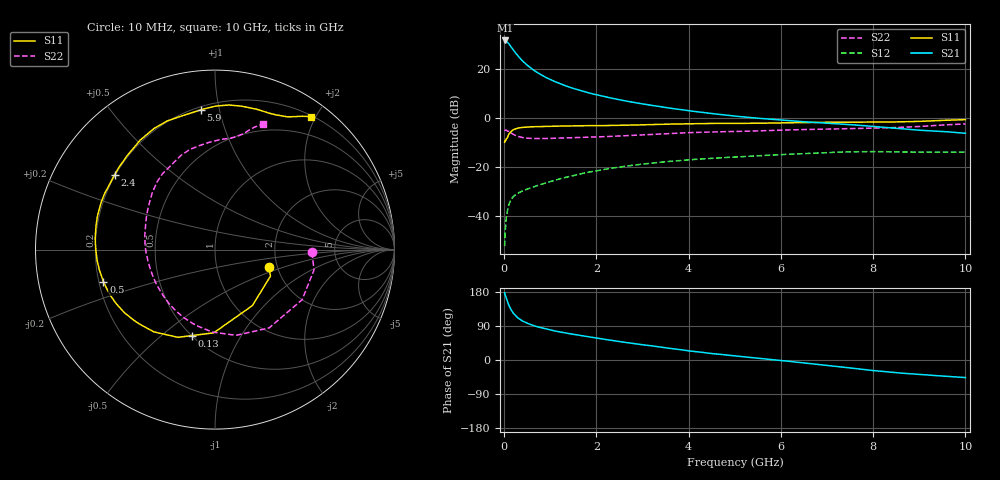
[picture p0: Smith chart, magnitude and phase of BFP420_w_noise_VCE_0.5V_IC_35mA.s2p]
! Infineon Technologies  Discrete & RF Semiconductors
! BFP420
! VCE =  0.5 V,  IC =  35 mA
! Common Emitter S-Parameters:  Jan 2016
# GHz  S  MA  R  50
!  f  S11  S21  S12  S22
! GHz  MAG  ANG  MAG  ANG  MAG  ANG  MAG  ANG
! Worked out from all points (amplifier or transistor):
!   233 points, 10 MHz to 10 GHz, reference 50 ohm
!   highest |S21| = 31.5 dB at 20 MHz (marker M1)
!   |S21| within 3 dB of that: start of sweep to 165 MHz
!   unconditionally stable (mu >= 1): start of sweep to 42.43 MHz; 823.9 MHz to end of sweep
!   at 200 MHz: K = 0.52, MSG = 29.9 dB, |S12| = -32.1 dB
!   at 1.74 GHz: K = 1.22, MAG = 13.7 dB, |S12| = -22.6 dB
!   at 10 GHz: K = 1.06, MAG = 2.3 dB, |S12| = -14.0 dB
!   lowest NFmin = 1.64 dB at 900 MHz
!   S11 on the Smith chart (normalised r, x): 10 MHz: 1.80, -0.39; 130 MHz: 0.50, -0.64; 500 MHz: 0.22, -0.13; 2.4 GHz: 0.20, +0.32; 5.9 GHz: 0.22, +0.88; 10 GHz: 0.22, +1.93
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0.01  0.3154 -18.2  35.1 177.7  0.0024 98.0  0.5405 -1.6
0.02  0.3426 -25.5  37.7 172.9  0.0041 89.2  0.5633 -11.6
0.05  0.3752 -56.3  36.37 161.5  0.0097 77.5  0.5601 -29.8
0.1  0.4638 -90.9  32.59 144.8  0.0167 64.4  0.5305 -55.4
0.13  0.4952 -104.8  29.61 137.8  0.0195 58.9  0.4992 -67.5
0.15  0.5305 -112.9  27.91 132.4  0.0215 56.1  0.4919 -76.2
0.2  0.571 -126.6  24.08 123.3  0.0247 50.8  0.4594 -92.0
0.24  0.5898 -135.1  21.41 117.9  0.0266 48.2  0.4376 -102.2
0.3  0.6147 -145.1  18.13 110.8  0.0289 45.8  0.4167 -115.0
0.4  0.6354 -156.1  14.39 102.7  0.0321 44.4  0.3952 -130.4
0.5  0.6467 -163.9  11.79 96.9  0.035 44.5  0.3838 -141.3
0.7  0.6596 -174.7  8.547 88.4  0.0407 45.9  0.3767 -156.1
0.9  0.6666 177.7  6.672 82.0  0.0468 47.0  0.3769 -166.3
1.2  0.6762 168.9  4.994 74.3  0.0565 47.7  0.384 -177.1
1.68  0.6861 157.8  3.529 64.0  0.0724 46.4  0.397 170.4
2.4  0.6978 143.2  2.426 50.5  0.0957 41.1  0.4207 155.7
3.4  0.7332 126.0  1.67 33.9  0.1239 31.4  0.4668 139.0
5.1  0.767 104.3  1.058 9.6  0.16 14.7  0.527 118.4
5.9  0.7824 95.8  0.914 -0.1  0.175 7.5  0.5549 110.5
6.8  0.8046 86.6  0.795 -11.6  0.191 -1.8  0.5814 100.5
8.4  0.8183 68.1  0.619 -32.4  0.2015 -20.2  0.6268 82.1
10  0.9132 54.2  0.482 -46.4  0.1993 -31.6  0.7492 69.2
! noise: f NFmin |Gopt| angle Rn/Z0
0.9  1.64  0.3  -155  0.13
1.8  1.9  0.37  -142  0.15
2.4  2.1  0.34  -134  0.19
3  2.11  0.4  -126  0.22
4  2.25  0.5  -110  0.35
5  2.73  0.54  -94  0.59
6  3.16  0.59  -82  0.84
